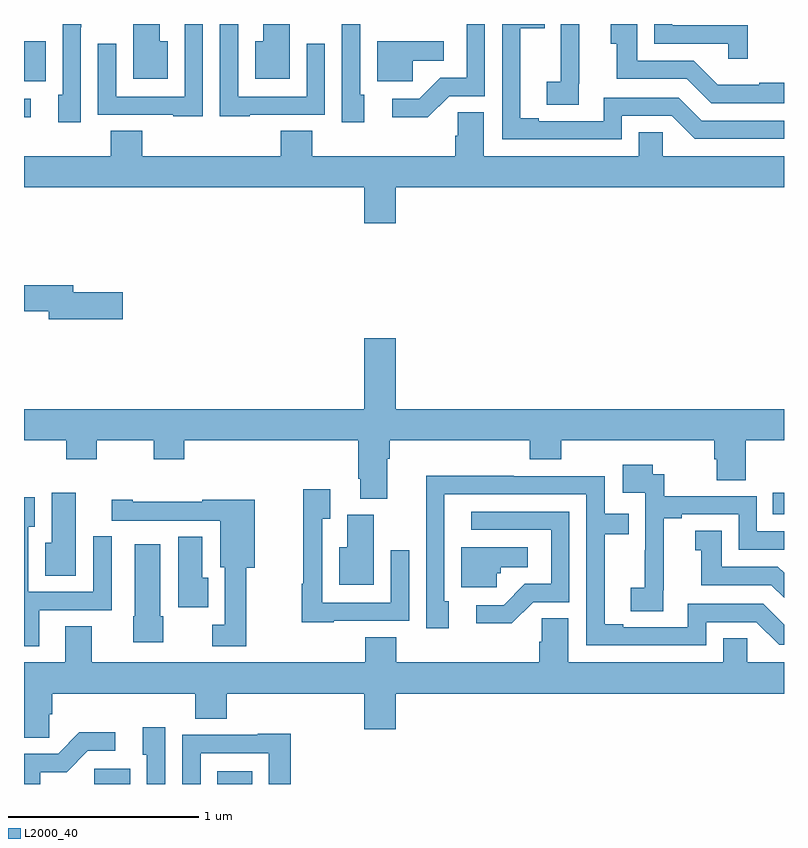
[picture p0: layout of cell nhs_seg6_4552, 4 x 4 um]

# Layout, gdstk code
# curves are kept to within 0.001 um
import gdstk
lib = gdstk.Library(unit=1e-6, precision=1e-09)
def R(c, l, rs):  # rectangles x0, y0, x1, y1
    for r in rs: c.add(gdstk.rectangle(r[:2], r[2:], *l))
def P(c, l, *ps):  # polygons
    for p in ps: c.add(gdstk.Polygon(p, *l))
L2000_40 = (2000, 40)

nhs_seg6_4552 = lib.new_cell('nhs_seg6_4552')
R(nhs_seg6_4552, L2000_40, [(379.371,973.5,379.558,973.581), (380.018,973.5,380.2,973.567), (382.942,974.919,383,975.034), (379,977.009,379.036,977.106), (379,977.199,379.114,977.41)])
P(nhs_seg6_4552, L2000_40, [(382.808,977.493),(382.413,977.493),(382.413,977.5),(382.317,977.5),(382.317,977.397),(382.707,977.397),(382.707,977.316),(382.808,977.316)],
  [(382.146,977.016),(382.41,977.016),(382.53,976.896),(383,976.896),(383,976.992),(382.566,976.992),(382.446,977.112),(382.05,977.112),(382.05,976.989),(381.709,976.989),(381.709,977.004),(381.613,977.004),(381.613,977.478),(381.74,977.478),(381.74,977.5),(381.516,977.5),(381.516,976.893),(382.146,976.893)],
  [(380.791,977.127),(380.769,977.127),(380.769,977.5),(380.672,977.5),(380.672,977.482),(380.673,977.482),(380.673,976.983),(380.791,976.983)],
  [(380.187,977.022),(380.583,977.022),(380.583,977.395),(380.487,977.395),(380.487,977.118),(380.127,977.118),(380.127,977.5),(380.031,977.5),(380.031,977.015),(380.187,977.015)],
  [(379.299,977.482),(379.301,977.482),(379.301,977.5),(379.203,977.5),(379.203,977.127),(379.181,977.127),(379.181,976.983),(379.299,976.983)],
  [(381.237,977.121),(381.426,977.121),(381.426,977.5),(381.33,977.5),(381.33,977.217),(381.192,977.217),(381.081,977.106),(380.937,977.106),(380.937,977.009),(381.124,977.009)],
  [(379.941,977.5),(379.845,977.5),(379.845,977.118),(379.485,977.118),(379.485,977.395),(379.389,977.395),(379.389,977.022),(379.785,977.022),(379.785,977.015),(379.941,977.015)],
  [(379.756,977.41),(379.714,977.41),(379.714,977.5),(379.574,977.5),(379.574,977.213),(379.756,977.213)],
  [(380.398,977.5),(380.258,977.5),(380.258,977.41),(380.216,977.41),(380.216,977.213),(380.398,977.213)],
  [(381.92,977.185),(381.922,977.185),(381.922,977.5),(381.825,977.5),(381.825,977.393),(381.824,977.393),(381.824,977.196),(381.75,977.196),(381.75,977.074),(381.92,977.074)],
  [(383,977.191),(382.871,977.191),(382.871,977.179),(382.652,977.179),(382.524,977.307),(382.228,977.307),(382.228,977.498),(382.088,977.498),(382.088,977.395),(382.121,977.395),(382.121,977.211),(382.488,977.211),(382.617,977.082),(383,977.082)],
  [(381.045,977.306),(381.208,977.306),(381.208,977.41),(380.858,977.41),(380.858,977.199),(381.045,977.199)],
  [(380.956,976.64),(383,976.64),(383,976.804),(382.362,976.804),(382.362,976.931),(382.235,976.931),(382.235,976.804),(381.421,976.804),(381.421,977.036),(381.282,977.036),(381.282,976.913),(381.269,976.913),(381.269,976.804),(380.516,976.804),(380.516,976.937),(380.351,976.937),(380.351,976.804),(379.622,976.804),(379.622,976.937),(379.457,976.937),(379.457,976.804),(379,976.804),(379,976.64),(380.792,976.64),(380.792,976.452),(380.956,976.452)],
  [(379.519,976.088),(379.258,976.088),(379.258,976.124),(379,976.124),(379,975.988),(379.13,975.988),(379.13,975.946),(379.519,975.946)],
  [(380.956,975.847),(380.792,975.847),(380.792,975.472),(379,975.472),(379,975.308),(379.223,975.308),(379.223,975.209),(379.383,975.209),(379.383,975.308),(379.684,975.308),(379.684,975.209),(379.844,975.209),(379.844,975.308),(380.759,975.308),(380.759,975.106),(380.771,975.106),(380.771,975.001),(380.911,975.001),(380.911,975.212),(380.924,975.212),(380.924,975.308),(381.662,975.308),(381.662,975.209),(381.827,975.209),(381.827,975.308),(382.634,975.308),(382.634,975.21),(382.646,975.21),(382.646,975.1),(382.799,975.1),(382.799,975.308),(383,975.308),(383,975.472),(380.956,975.472)],
  [(382.364,974.521),(382.366,974.521),(382.366,974.899),(382.462,974.899),(382.462,974.919),(382.761,974.919),(382.761,974.733),(383,974.733),(383,974.829),(382.857,974.829),(382.857,975.015),(382.37,975.015),(382.37,975.129),(382.308,975.129),(382.308,975.181),(382.152,975.181),(382.152,975.033),(382.269,975.033),(382.269,974.729),(382.268,974.729),(382.268,974.532),(382.194,974.532),(382.194,974.41),(382.364,974.41)],
  [(382.59,974.352),(382.854,974.352),(382.974,974.232),(383,974.232),(383,974.338),(382.89,974.448),(382.494,974.448),(382.494,974.325),(382.153,974.325),(382.153,974.34),(382.057,974.34),(382.057,974.814),(382.184,974.814),(382.184,974.922),(382.056,974.922),(382.056,975.12),(381.578,975.12),(381.578,975.122),(381.116,975.122),(381.117,974.319),(381.235,974.319),(381.235,974.463),(381.213,974.463),(381.213,975.024),(381.96,975.024),(381.96,974.229),(382.59,974.229)],
  [(380.631,974.358),(381.027,974.358),(381.027,974.731),(380.931,974.731),(380.931,974.454),(380.571,974.454),(380.571,974.896),(380.611,974.896),(380.611,975.052),(380.47,975.052),(380.47,974.555),(380.463,974.555),(380.463,974.351),(380.631,974.351)],
  [(379.273,975.034),(379.145,975.034),(379.145,974.77),(379.112,974.77),(379.112,974.596),(379.273,974.596)],
  [(379.081,974.415),(379.461,974.415),(379.461,974.805),(379.365,974.805),(379.365,974.511),(379.023,974.511),(379.023,974.854),(379.057,974.854),(379.057,975.01),(379,975.01),(379,974.226),(379.081,974.226)],
  [(380.171,974.639),(380.215,974.639),(380.215,974.995),(379.937,974.995),(379.937,974.985),(379.573,974.985),(379.573,974.995),(379.461,974.995),(379.461,974.886),(380.033,974.886),(380.033,974.64),(380.057,974.64),(380.057,974.338),(379.992,974.338),(379.992,974.225),(380.171,974.225)],
  [(381.681,974.457),(381.87,974.457),(381.87,974.934),(381.354,974.934),(381.354,974.838),(381.774,974.838),(381.774,974.553),(381.636,974.553),(381.525,974.442),(381.381,974.442),(381.381,974.345),(381.568,974.345)],
  [(380.842,974.916),(380.702,974.916),(380.702,974.746),(380.66,974.746),(380.66,974.549),(380.842,974.549)],
  [(383,974.611),(382.968,974.643),(382.672,974.643),(382.672,974.834),(382.532,974.834),(382.532,974.731),(382.565,974.731),(382.565,974.547),(382.932,974.547),(383,974.479)],
  [(379.969,974.586),(379.939,974.586),(379.939,974.801),(379.811,974.801),(379.811,974.43),(379.969,974.43)],
  [(379.732,974.382),(379.717,974.382),(379.717,974.761),(379.583,974.761),(379.583,974.382),(379.574,974.382),(379.574,974.246),(379.732,974.246)],
  [(381.489,974.61),(381.508,974.61),(381.508,974.642),(381.652,974.642),(381.652,974.746),(381.302,974.746),(381.302,974.535),(381.489,974.535)],
  [(379.134,973.867),(379.148,973.867),(379.148,973.976),(379.901,973.976),(379.901,973.843),(380.066,973.843),(380.066,973.976),(380.792,973.976),(380.792,973.788),(380.956,973.788),(380.956,973.976),(383,973.976),(383,974.14),(382.806,974.14),(382.806,974.267),(382.679,974.267),(382.679,974.14),(381.865,974.14),(381.865,974.372),(381.726,974.372),(381.726,974.249),(381.713,974.249),(381.713,974.14),(380.96,974.14),(380.96,974.273),(380.795,974.273),(380.795,974.14),(379.357,974.14),(379.357,974.33),(379.217,974.33),(379.217,974.14),(379,974.14),(379,973.744),(379.134,973.744)],
  [(379.743,973.798),(379.625,973.798),(379.625,973.653),(379.647,973.653),(379.647,973.5),(379.743,973.5)],
  [(379.086,973.563),(379.224,973.563),(379.335,973.674),(379.48,973.674),(379.48,973.772),(379.292,973.772),(379.179,973.659),(379,973.659),(379,973.5),(379.086,973.5)],
  [(379.929,973.662),(380.289,973.662),(380.289,973.5),(380.405,973.5),(380.405,973.765),(380.229,973.765),(380.229,973.758),(379.833,973.758),(379.833,973.5),(379.929,973.5)])

lib.write_gds('nhs_seg6_4552.gds')
